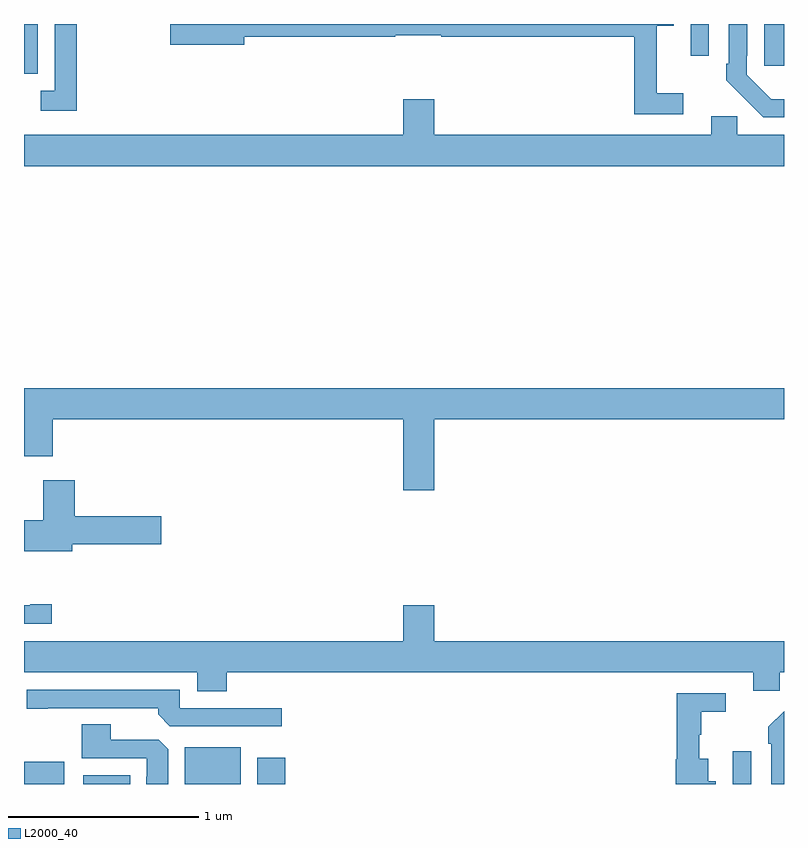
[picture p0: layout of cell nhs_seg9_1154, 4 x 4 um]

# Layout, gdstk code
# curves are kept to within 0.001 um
import gdstk
lib = gdstk.Library(unit=1e-6, precision=1e-09)
def R(c, l, rs):  # rectangles x0, y0, x1, y1
    for r in rs: c.add(gdstk.rectangle(r[:2], r[2:], *l))
def P(c, l, *ps):  # polygons
    for p in ps: c.add(gdstk.Polygon(p, *l))
L2000_40 = (2000, 40)

nhs_seg9_1154 = lib.new_cell('nhs_seg9_1154')
R(nhs_seg9_1154, L2000_40, [(175,1194.5,175.213,1194.616), (175.313,1194.5,175.558,1194.547), (175.847,1194.5,176.14,1194.694), (176.228,1194.5,176.375,1194.637), (178.731,1194.5,178.827,1194.673), (175,1198.237,175.072,1198.5), (178.895,1198.281,179,1198.5), (178.509,1198.332,178.605,1198.5)])
P(nhs_seg9_1154, L2000_40, [(178.471,1198.135),(178.331,1198.135),(178.331,1198.49),(178.42,1198.49),(178.42,1198.5),(175.77,1198.5),(175.77,1198.39),(176.158,1198.39),(176.158,1198.432),(176.954,1198.432),(176.954,1198.44),(177.195,1198.44),(177.195,1198.432),(178.213,1198.432),(178.213,1198.026),(178.471,1198.026)],
  [(175.277,1198.5),(175.161,1198.5),(175.161,1198.149),(175.089,1198.149),(175.089,1198.044),(175.277,1198.044)],
  [(179,1198.105),(178.932,1198.105),(178.803,1198.233),(178.803,1198.333),(178.806,1198.333),(178.806,1198.5),(178.71,1198.5),(178.71,1198.291),(178.695,1198.291),(178.695,1198.203),(178.892,1198.008),(179,1198.008)],
  [(179,1197.916),(178.755,1197.916),(178.755,1198.014),(178.616,1198.014),(178.616,1197.916),(177.16,1197.916),(177.16,1198.105),(176.996,1198.105),(176.996,1197.916),(175,1197.916),(175,1197.752),(179,1197.752)],
  [(177.16,1196.42),(179,1196.42),(179,1196.584),(175,1196.584),(175,1196.226),(175.151,1196.226),(175.151,1196.42),(176.996,1196.42),(176.996,1196.046),(177.16,1196.046)],
  [(175.255,1195.763),(175.723,1195.763),(175.723,1195.91),(175.268,1195.91),(175.268,1196.098),(175.1,1196.098),(175.1,1195.887),(175,1195.887),(175,1195.724),(175.255,1195.724)],
  [(175.147,1195.445),(175.034,1195.445),(175.034,1195.44),(175,1195.44),(175,1195.344),(175.147,1195.344)],
  [(176.066,1195.088),(178.838,1195.088),(178.838,1194.99),(178.977,1194.99),(178.977,1195.088),(179,1195.088),(179,1195.252),(177.16,1195.252),(177.16,1195.441),(176.996,1195.441),(176.996,1195.252),(175,1195.252),(175,1195.088),(175.913,1195.088),(175.913,1194.989),(176.066,1194.989)],
  [(176.356,1194.9),(175.821,1194.9),(175.821,1194.996),(175.014,1194.996),(175.014,1194.895),(175.126,1194.895),(175.126,1194.9),(175.706,1194.9),(175.706,1194.866),(175.767,1194.804),(176.356,1194.804)],
  [(178.642,1194.514),(178.6,1194.514),(178.6,1194.634),(178.553,1194.634),(178.553,1194.758),(178.564,1194.758),(178.564,1194.88),(178.693,1194.88),(178.693,1194.978),(178.435,1194.978),(178.435,1194.63),(178.43,1194.63),(178.43,1194.5),(178.642,1194.5)],
  [(179,1194.884),(178.917,1194.801),(178.917,1194.713),(178.932,1194.713),(178.932,1194.5),(179,1194.5)],
  [(175.759,1194.683),(175.71,1194.732),(175.456,1194.732),(175.456,1194.815),(175.304,1194.815),(175.304,1194.636),(175.647,1194.636),(175.647,1194.539),(175.643,1194.539),(175.643,1194.5),(175.759,1194.5)])

lib.write_gds('nhs_seg9_1154.gds')
